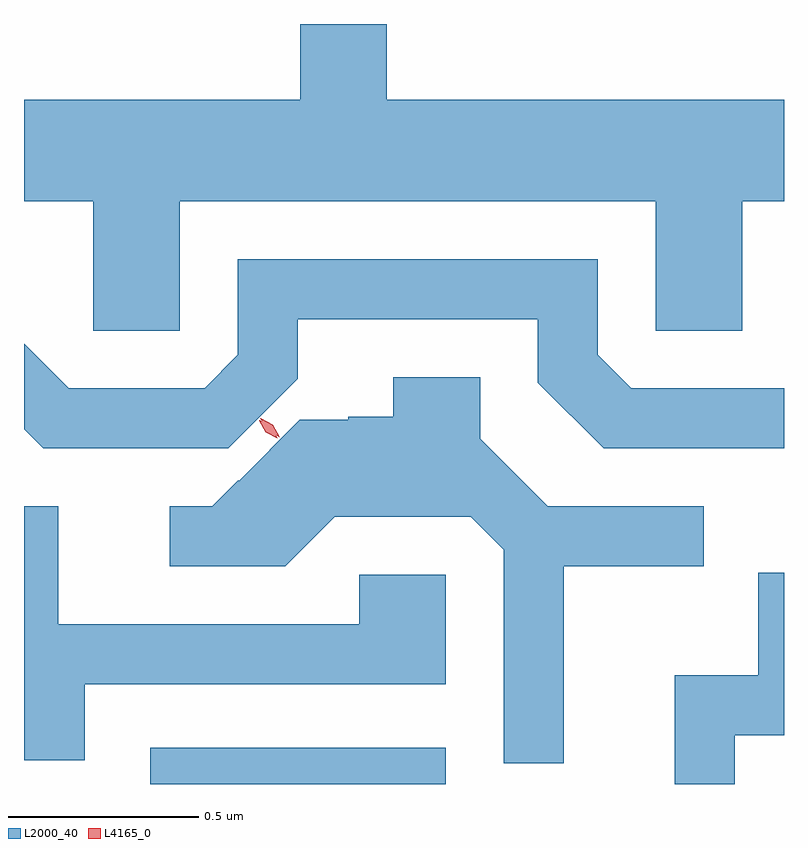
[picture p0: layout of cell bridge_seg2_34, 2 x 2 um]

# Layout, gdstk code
import gdstk
lib = gdstk.Library(unit=1e-6, precision=1e-09)
def R(c, l, rs):  # rectangles x0, y0, x1, y1
    for r in rs: c.add(gdstk.rectangle(r[:2], r[2:], *l))
def P(c, l, *ps):  # polygons
    for p in ps: c.add(gdstk.Polygon(p, *l))
L2000_40 = (2000, 40)
L4165_0 = (4165, 0)

bridge_seg2_34 = lib.new_cell('bridge_seg2_34')
R(bridge_seg2_34, L2000_40, [(1908.341,1006.823,1909.119,1006.919)])
P(bridge_seg2_34, L2000_40, [(1908.419,1008.356),(1909.671,1008.356),(1909.671,1008.016),(1909.899,1008.016),(1909.899,1008.356),(1910.009,1008.356),(1910.009,1008.624),(1908.964,1008.624),(1908.964,1008.823),(1908.736,1008.823),(1908.736,1008.624),(1908.009,1008.624),(1908.009,1008.356),(1908.191,1008.356),(1908.191,1008.016),(1908.419,1008.016)],
  [(1908.45,1007.707),(1908.547,1007.707),(1908.729,1007.889),(1908.729,1008.046),(1909.361,1008.046),(1909.361,1007.879),(1909.534,1007.706),(1910.009,1007.706),(1910.009,1007.864),(1909.607,1007.864),(1909.519,1007.952),(1909.519,1008.204),(1908.571,1008.204),(1908.571,1007.952),(1908.484,1007.864),(1908.127,1007.864),(1908.009,1007.982),(1908.009,1007.756),(1908.059,1007.706),(1908.45,1007.706)],
  [(1909.429,1007.396),(1909.798,1007.396),(1909.798,1007.554),(1909.387,1007.554),(1909.209,1007.732),(1909.209,1007.894),(1908.981,1007.894),(1908.981,1007.789),(1908.862,1007.789),(1908.862,1007.781),(1908.735,1007.781),(1908.575,1007.621),(1908.573,1007.623),(1908.504,1007.554),(1908.393,1007.554),(1908.393,1007.396),(1908.697,1007.396),(1908.827,1007.526),(1909.184,1007.526),(1909.271,1007.439),(1909.271,1006.878),(1909.429,1006.878)],
  [(1908.169,1007.086),(1909.119,1007.086),(1909.119,1007.374),(1908.891,1007.374),(1908.891,1007.244),(1908.099,1007.244),(1908.099,1007.554),(1908.009,1007.554),(1908.009,1006.886),(1908.169,1006.886)],
  [(1909.879,1006.951),(1910.009,1006.951),(1910.009,1007.379),(1909.941,1007.379),(1909.941,1007.109),(1909.721,1007.109),(1909.721,1006.823),(1909.879,1006.823)])
P(bridge_seg2_34, L4165_0, [(1908.682,1007.736),(1908.65,1007.754),(1908.631,1007.786),(1908.631,1007.786),(1908.632,1007.786),(1908.664,1007.768),(1908.682,1007.736),(1908.682,1007.736)],
  [(1908.675,1007.733),(1908.645,1007.749),(1908.628,1007.779),(1908.628,1007.78),(1908.629,1007.78),(1908.659,1007.764),(1908.676,1007.734),(1908.676,1007.733)])

lib.write_gds('bridge_seg2_34.gds')
